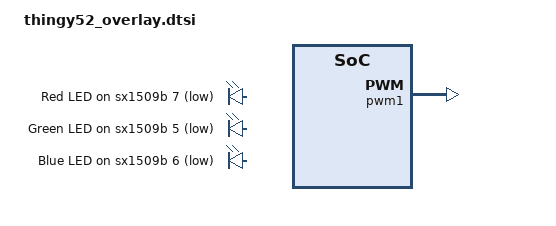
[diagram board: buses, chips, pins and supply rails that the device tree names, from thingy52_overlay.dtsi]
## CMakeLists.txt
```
set(QEMU_EXTRA_FLAGS -s)

set(DTC_OVERLAY_FILE thingy52_overlay.dtsi)

option(Mobile_A "select static node" OFF)
option(Mobile_B "select static node" OFF)
IF(${Mobile_A})
    set(CONF_FILE conf_files/mobile_node_A.conf prj.conf)
ELSEIF(${Mobile_B})
    set(CONF_FILE conf_files/mobile_node_B.conf prj.conf)
ENDIF()

find_package(Zephyr REQUIRED HINTS $ENV{ZEPHYR_BASE})

project(code/mobile_mesh_nodes)

include_directories(    
                        ../lib/pb_driver/
                        ../lib/pwm_speaker_driver/
                        )

target_sources(app PRIVATE 
                        src/main.c
                        ../lib/pwm_speaker_driver/s4589514_speaker_pwm.c
                        ../lib/pb_driver/s4589514_pb.c
                        )

# FILE(GLOB app_sources src/*.c)
# target_sources(app PRIVATE ${app_sources})



cmake_minimum_required(VERSION 3.20.0)

set(BOARD_FLASH_RUNNER jlink)
```

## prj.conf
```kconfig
# J-Link Log Viewer
CONFIG_UART_CONSOLE=n
CONFIG_USE_SEGGER_RTT=y
CONFIG_RTT_CONSOLE=y
CONFIG_LOG_BACKEND_RTT=y
CONFIG_LOG_STRDUP_BUF_COUNT=20
CONFIG_LOG_STRDUP_MAX_STRING=80

CONFIG_PWM=y

CONFIG_MAIN_STACK_SIZE=512
CONFIG_BT_RX_STACK_SIZE=4096
CONFIG_SYSTEM_WORKQUEUE_STACK_SIZE=4096

CONFIG_BT=y
CONFIG_BT_OBSERVER=y
CONFIG_BT_BROADCASTER=y
# CONFIG_BT_DEBUG_LOG=n #ENABLE FOR LOGGING MSGS
CONFIG_BT_MESH_GATT_PROXY=y
CONFIG_BT_PERIPHERAL=y
CONFIG_BT_MESH_PB_GATT=y
CONFIG_BT_MESH_PB_ADV=y


CONFIG_BT_MESH=y
CONFIG_BT_MESH_APP_KEY_COUNT=1
CONFIG_BT_MESH_RELAY=n
CONFIG_BT_MESH_FRIEND=n
CONFIG_BT_MESH_GATT_PROXY=y
CONFIG_BT_MESH_BEACON_ENABLED=n

CONFIG_BT_SETTINGS=y
CONFIG_FLASH=y
CONFIG_FLASH_PAGE_LAYOUT=y
CONFIG_FLASH_MAP=y
CONFIG_FCB=y
CONFIG_SETTINGS=y
CONFIG_SETTINGS_FCB=y

CONFIG_BT_DEBUG_LOG=n #ENABLE FOR LOGGING MSGS
CONFIG_LOG_BUFFER_SIZE=2048
CONFIG_LOG_STRDUP_BUF_COUNT=1
CONFIG_BT_MESH_DEBUG=n #ENABLE FOR LOGGING MSGS
CONFIG_BT_MESH_DEBUG_ACCESS=y
CONFIG_BT_MESH_DEBUG_NET=y

                               #Console RTT Console
#------------------------------------------------------------------------------
CONFIG_PRINTK=y
CONFIG_CBPRINTF_FP_SUPPORT=y

CONFIG_USE_SEGGER_RTT=y
CONFIG_SHELL_BACKEND_SERIAL=n
CONFIG_UART_CONSOLE=n
CONFIG_LOG=y
CONFIG_RTT_CONSOLE=y

CONFIG_NEWLIB_LIBC=y
```

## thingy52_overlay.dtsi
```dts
/ {
	aliases {
                redled = &led0;
                greenled = &led1;
                blueled = &led2;
                pwmbuzzer = &pwm_one;
	};

        leds {
                compatible = "gpio-leds";
                status = "okay";

                led0: led_0 {
                        gpios = <&sx1509b 7 0x1>;
                        label = "Red LED";
                };
                led1: led_1 {
                        gpios = <&sx1509b 5 0x1>;
                        label = "Green LED";
                };
                led2: led_2 {
                        gpios = <&sx1509b 6 0x1>;
                        label = "Blue LED";
                };
        };

        pwmdrv {
                compatible = "gpio-pwm";
                pwm_one: pwmOne {
                        pwms = <&pwm1 27>;
                };
        };
};
&pwm1 {
        status = "okay";
        ch0-pin = <27>;
};
```

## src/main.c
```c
/**
 * Partial implementation of the generic on off server and light HSL server models.
 * Not complete and therefore not compliant with the applicable specifications.
 * Provided for education purposes only.
 * 
 * Coded for and tested with Nordic Thingy
 * 
 **/

#include <stdlib.h>
#include <bluetooth/bluetooth.h>
#include <bluetooth/hci.h>
#include <settings/settings.h>
#include <drivers/gpio.h>
#include <bluetooth/mesh.h>
#include <random/rand32.h>
#include <drivers/pwm.h>

#include "s4589514_speaker_pwm.h"
#include "s4589514_pb.h"

#define BLE_MAX_NAME_LEN 	50
#define NUM_BEACONS 		13

// GPIO for the Thingy LED controller
const struct device *led_ctrlr;

static int nodeFamily = 0;
uint16_t hsl[8][3] = {
	{ 0x0000, 0x0000, 0x0000 }, // black
	{ 0x0000, 0xFFFF, 0x7FFF }, // red 
	{ 0x5555, 0xFFFF, 0x7FFF }, // green
	{ 0xAAAA, 0xFFFF, 0x7FFF }, // blue
	{ 0x2AAA, 0xFFFF, 0x7FFF }, // yellow
	{ 0xD555, 0xFFFF, 0x7FFF }, // magenta
	{ 0x7FFF, 0xFFFF, 0x7FFF }, // cyan
	{ 0x0000, 0x0000, 0xFFFF }  // white
};

struct NodeData
{
    char name[BLE_MAX_NAME_LEN];
    int8_t rssi;
};

static struct NodeData nodeData[NUM_BEACONS];

#define PORT "GPIO_P0"
#define LED_R 7
#define LED_G 5
#define LED_B 6

// states and state changes
uint8_t onoff_state;

uint16_t hsl_lightness;
uint16_t hsl_hue;
uint16_t hsl_saturation;
uint16_t rgb_r;
uint16_t rgb_g;
uint16_t rgb_b;

bool publish = false;
uint16_t reply_addr;
uint8_t reply_net_idx;
uint8_t reply_app_idx;

// device UUID
static uint8_t dev_uuid[16] = { 0x00, 0x00, 0x00, 0x00, 0x00, 0x00, 0x00, 0x00,0x00, 0x00, 0x00, 0x00,0x00, 0x00, 0x00, 0x00 };

// Static node GAP names according to index
const char *nodeNames[] = {
    "4011-A",
    "4011-B",
    // "4011-C",
    "4011-D",
    "4011-E",
    "4011-F",
    "4011-G",
    "4011-H",
    "4011-I", // weak signal
    // "4011-J",
    // "4011-K",
    "4011-L", // weak signal
    "Relay_W",
    "Relay_X",
    "Relay_Y",
    "Relay_Z"
};

int8_t beaconRSSI[NUM_BEACONS][2] = {
	{ 0x00, 0x10 }, // iBeacon A
	{ 0x01, 0x20 }, // iBeacon B
	// { 0x0002, 0x0030 }, // iBeacon C
	{ 0x03, 0x40 }, // iBeacon D
	{ 0x04, 0x50 }, // iBeacon E
	{ 0x05, 0x60 }, // iBeacon F
	{ 0x06, 0x70 }, // iBeacon G
	{ 0x07, 0x80 }, // iBeacon H
	{ 0x08, 0x90 }, // iBeacon I
	{ 0x09, 0xA0 }, // iBeacon L
	{ 0x0A, 0x90 }, // Relay W
	{ 0x0B, 0xA0 }, // Relay X
	{ 0x0C, 0xB0 }, // Relay Y
	{ 0x0D, 0xC0 } // Relay Z
};

int8_t staticNodeRSSI[4][2];

void gen_uuid() {
    uint32_t rnd1 = sys_rand32_get();
    uint32_t rnd2 = sys_rand32_get();
    uint32_t rnd3 = sys_rand32_get();
    uint32_t rnd4 = sys_rand32_get();

    dev_uuid[15] = (rnd1 >> 24) & 0x0FF;
    dev_uuid[14] = (rnd1 >> 16) & 0x0FF;
    dev_uuid[13] = (rnd1 >>  8) & 0x0FF;
    dev_uuid[12] =  rnd1 & 0x0FF;

    dev_uuid[11] = (rnd2 >> 24) & 0x0FF;
    dev_uuid[10] = (rnd2 >> 16) & 0x0FF;
    dev_uuid[9] = (rnd2 >>  8) & 0x0FF;
    dev_uuid[8] =  rnd2 & 0x0FF;

    dev_uuid[7] = (rnd3 >> 24) & 0x0FF;
    dev_uuid[6] = (rnd3 >> 16) & 0x0FF;
    dev_uuid[5] = (rnd3 >>  8) & 0x0FF;
    dev_uuid[4] =  rnd3 & 0x0FF;

    dev_uuid[3] = (rnd4 >> 24) & 0x0FF;
    dev_uuid[2] = (rnd4 >> 16) & 0x0FF;
    dev_uuid[1] = (rnd4 >>  8) & 0x0FF;
    dev_uuid[0] =  rnd4 & 0x0FF;

    /* Set 4 MSB bits of time_hi_and_version field */
    dev_uuid[6] &= 0x0f;
    dev_uuid[6] |= 4 << 4;

    /* Set 2 MSB of clock_seq_hi_and_reserved to 10 */
    dev_uuid[8] &= 0x3f;
    dev_uuid[8] |= 0x80;

}

void thingy_led_on(int r, int g, int b)
{
	// LEDs on Thingy are "active low" so zero means on. 
	r = !(r / 255);
	g = !(g / 255);
	b = !(b / 255);

	gpio_pin_set(led_ctrlr, LED_R, r);
	gpio_pin_set(led_ctrlr, LED_G, g);
	gpio_pin_set(led_ctrlr, LED_B, b);
}

void thingy_led_off()
{
	printk("GPIO_ACTIVE_LOW=%d\n",GPIO_ACTIVE_LOW);
	gpio_pin_set(led_ctrlr, LED_R, 1);
	gpio_pin_set(led_ctrlr, LED_G, 1);
	gpio_pin_set(led_ctrlr, LED_B, 1);
}

static void attention_on(struct bt_mesh_model *model)
{
	printk("attention_on()\n");
	thingy_led_on(255,0,0);
}

static void attention_off(struct bt_mesh_model *model)
{
	printk("attention_off()\n");
	thingy_led_off();
}

static const struct bt_mesh_health_srv_cb health_srv_cb = {
	.attn_on = attention_on,
	.attn_off = attention_off,
};

static int provisioning_output_pin(bt_mesh_output_action_t action, uint32_t number) {
	printk("OOB Number: %u\n", number);
	return 0;
}

static void provisioning_complete(uint16_t net_idx, uint16_t addr) {
    printk("Provisioning completed\n");
}

static void provisioning_reset(void)
{
	bt_mesh_prov_enable(BT_MESH_PROV_ADV | BT_MESH_PROV_GATT);
}

// provisioning properties and capabilities
static const struct bt_mesh_prov prov = {
	.uuid = dev_uuid,
	.output_size = 4,
	.output_actions = BT_MESH_DISPLAY_NUMBER,
	.output_number = provisioning_output_pin,
	.complete = provisioning_complete,
	.reset = provisioning_reset,
};

/*
 * The following two functions were converted from the pseudocode provided in the mesh models specification, section 6.1.1 Introduction
 */

double Hue_2_RGB(double v1, double v2, double vH ) {

	// printf("Hue_2_RGB: v1=%f v2=%f vH=%f\n",v1,v2,vH);

    if ( vH < 0.0f ) {
		vH += 1.0f;
	}
    if ( vH > 1.0f ) {
		vH -= 1.0f;
	}
    if (( 6.0f * vH ) < 1.0f ) {
		return ( v1 + ( v2 - v1 ) * 6.0f * vH );
	}
    if (( 2.0f * vH ) < 1.0f ) {
		return ( v2 );
	}
    if (( 3.0f * vH ) < 2.0f ) {
		return ( v1 + ( v2 - v1 ) * ( ( 2.0f / 3.0f ) - vH ) * 6.0f );
	}
    return ( v1 );
}	

void convert_hsl_to_rgb(unsigned short hsl_h,unsigned short hsl_s,unsigned short hsl_l ) {
	// printf("hsl_h=%d hsl_s=%d hsl_l=%d\n",hsl_h,hsl_s,hsl_l);
    double H = hsl_h / 65535.0f;
    double S = hsl_s / 65535.0f;
    double L = hsl_l / 65535.0f;
	double var_1 = 0.0f;
	double var_2 = 0.0f;
	
    if ( S == 0 ) {
      rgb_r = L * 255;
      rgb_g = L * 255;
      rgb_b = L * 255;
    } else {
      if ( L < 0.5f ) {
	      var_2 = L * ( 1.0f + S );
	  } else { 
		  var_2 = ( L + S ) - ( S * L );
	  }
      var_1 = 2.0f * L - var_2;
	  
      double R = Hue_2_RGB( var_1, var_2, H + ( 1.0f / 3.0f ));
      double G = Hue_2_RGB( var_1, var_2, H );
      double B = Hue_2_RGB( var_1, var_2, H - ( 1.0f / 3.0f ));
	  
	  // printf("R=%f G=%f B=%f\n",R,G,B);
	  
	  rgb_r = 256 * R;
	  rgb_g = 256 * G;
	  rgb_b = 256 * B;
    }
}

// message opcodes
#define BT_MESH_MODEL_OP_GENERIC_ONOFF_GET BT_MESH_MODEL_OP_2(0x82, 0x01)
#define BT_MESH_MODEL_OP_GENERIC_ONOFF_SET BT_MESH_MODEL_OP_2(0x82, 0x02)
#define BT_MESH_MODEL_OP_GENERIC_ONOFF_SET_UNACK BT_MESH_MODEL_OP_2(0x82, 0x03)
#define BT_MESH_MODEL_OP_GENERIC_ONOFF_STATUS BT_MESH_MODEL_OP_2(0x82, 0x04)

// need to forward declare as we have circular dependencies
void generic_onoff_status(bool publish, uint8_t on_or_off);

static void set_onoff_state(struct bt_mesh_model *model, struct bt_mesh_msg_ctx *ctx, struct net_buf_simple *buf, bool ack)
{
	uint8_t msg_onoff_state = net_buf_simple_pull_u8(buf);
	if (msg_onoff_state == onoff_state) {
		// no state change so nothing to do
		return;
	}
	onoff_state = msg_onoff_state;
	uint8_t tid = net_buf_simple_pull_u8(buf);
	printk("set onoff state: onoff=%u TID=%u", onoff_state, tid);

	/*
	 * 3.7.7.2 Acknowledged Set
	 */ 
	if (ack) {
		generic_onoff_status(false, onoff_state);
	}

	/*
	 * If a server has a publish address, it is required to publish status on a state change
	 * See Mesh Profile Specification 3.7.6.1.2	
	 */

	if (model->pub->addr != BT_MESH_ADDR_UNASSIGNED) {
		generic_onoff_status(true, onoff_state);
	}

}

static void generic_onoff_get(struct bt_mesh_model *model, struct bt_mesh_msg_ctx *ctx, struct net_buf_simple *buf)
{
	printk("gen_onoff_get\n");

	// logged for interest only
	printk("ctx net_idx=0x%02x\n",ctx->net_idx);
	printk("ctx app_idx=0x%02x\n",ctx->app_idx);
	printk("ctx addr=0x%02x\n",ctx->addr);
	printk("ctx recv_dst=0x%02x\n",ctx->recv_dst);
	reply_addr = ctx->addr;
	reply_net_idx = ctx->net_idx;
	reply_app_idx = ctx->app_idx;
	generic_onoff_status(false, onoff_state);
}

static void generic_onoff_set(struct bt_mesh_model *model, struct bt_mesh_msg_ctx *ctx,	
			struct net_buf_simple *buf)
{
	printk("gen_onoff_set\n");
	set_onoff_state(model, ctx, buf, true);
}

static void generic_onoff_set_unack(struct bt_mesh_model *model, struct bt_mesh_msg_ctx *ctx, 
			struct net_buf_simple *buf)
{
	//check unicast address of static node - displayed on nrf mesh application
	if (ctx->addr == 5) {
		staticNodeRSSI[0][1] = ctx->recv_rssi;

	} else if (ctx->addr == 6) {
		staticNodeRSSI[1][1] = ctx->recv_rssi;

	} else if (ctx->addr == 7) {
		staticNodeRSSI[2][1] = ctx->recv_rssi;

	} else if (ctx->addr == 8) {
		staticNodeRSSI[3][1] = ctx->recv_rssi;

	}
}

static const struct bt_mesh_model_op generic_onoff_op[] = {
		{BT_MESH_MODEL_OP_GENERIC_ONOFF_GET, 0, generic_onoff_get},
		{BT_MESH_MODEL_OP_GENERIC_ONOFF_SET, 2, generic_onoff_set},
		{BT_MESH_MODEL_OP_GENERIC_ONOFF_SET_UNACK, 2, generic_onoff_set_unack},
		BT_MESH_MODEL_OP_END,
};

// model publication context
BT_MESH_MODEL_PUB_DEFINE(generic_onoff_pub, NULL, 2 + 1);


// Light HSL Server Model - minimal subset only - would not be deemed compliant
// -------------------------------------------------------------------------------------------------------

// message opcodes

#define BT_MESH_MODEL_OP_LIGHT_HSL_SET_UNACK BT_MESH_MODEL_OP_2(0x82, 0x77)

// NB: only unacknowledged light_hsl_set is implemented in this code
static void set_hsl_state(struct bt_mesh_model *model, struct bt_mesh_msg_ctx *ctx, 
			struct net_buf_simple *buf) {

    uint16_t msg_hsl_lightness = net_buf_simple_pull_le16(buf);
    uint16_t msg_hsl_hue = net_buf_simple_pull_le16(buf);
    uint16_t msg_hsl_saturation = net_buf_simple_pull_le16(buf);
    if (msg_hsl_lightness == hsl_lightness && msg_hsl_hue == hsl_hue && msg_hsl_saturation == hsl_saturation) {
        // no state change so nothing to do
        return;
    }
    hsl_lightness = msg_hsl_lightness;
    hsl_hue = msg_hsl_hue;
    hsl_saturation = msg_hsl_saturation;
    printk("set HSL state: lightness=%u hue=%u saturation=%u\n", hsl_lightness, hsl_hue, hsl_saturation);
    convert_hsl_to_rgb(hsl_hue,hsl_saturation,hsl_lightness);
    if (onoff_state == 1) {
        thingy_led_on(rgb_r, rgb_g, rgb_b);
    }
    /*
    * If a server has a publish address, it is required to publish status on a state change
    * See Mesh Profile Specification 3.7.6.1.2
    */
    if (model->pub->addr != BT_MESH_ADDR_UNASSIGNED) {
        // if we had implemented light HSL status messages, we'd send one here
        printk("A status message should be sent here - not implemented\n");
    }
}

static void light_hsl_set_unack(struct bt_mesh_model *model,struct bt_mesh_msg_ctx *ctx, 
			struct net_buf_simple *buf) {
    printk("light_hsl_set_unack\n");
	int8_t temp = net_buf_simple_pull_u8(buf);
	
    // set_hsl_state(model, ctx, buf);
}

// static const struct bt_mesh_model_op light_hsl_op[] = {
// 		{BT_MESH_MODEL_OP_LIGHT_HSL_SET_UNACK, 1, light_hsl_set_unack},
// 		BT_MESH_MODEL_OP_END,
// };

// model publication context
BT_MESH_MODEL_PUB_DEFINE(light_hsl_pub, NULL, 2 + 6);

// -------------------------------------------------------------------------------------------------------
// Health Server
// -------------
BT_MESH_HEALTH_PUB_DEFINE(health_pub, 0);

static struct bt_mesh_health_srv health_srv = {
	.cb = &health_srv_cb,
};

static void get_proximity_data(struct bt_mesh_model *model,struct bt_mesh_msg_ctx *ctx, struct net_buf_simple *buf) {

	int8_t proximity_alert = net_buf_simple_pull_u8(buf);
	int8_t random = net_buf_simple_pull_u8(buf);

	printk("proximity alert: %d\n", proximity_alert);
	
	if (proximity_alert == 1) {
		buzzer_frequency(200);
		// do something
	} else if (proximity_alert == 0) {
		buzzer_frequency(60000);
		// do something else
	}
	
}

static void get_proximity_data_unack(struct bt_mesh_model *model,struct bt_mesh_msg_ctx *ctx, struct net_buf_simple *buf) {

	get_proximity_data(model, ctx, buf);
}

// -------------------------------------------------------------------------------------------------------
// Composition
// -----------

#define BT_MESH_MODEL_OP_MOBILE_TO_BASE_UNACK		BT_MESH_MODEL_OP_2(0x82, 0x40) // MOBILE A
#define BT_MESH_MODEL_OP_MOBILE_2_TO_BASE_UNACK 	BT_MESH_MODEL_OP_2(0x82, 0x41) // MOBILE B

// 12 bytes (5 sets of beaconRSSI data (2 bytes each), init msg, tid value)
BT_MESH_MODEL_PUB_DEFINE(data_mobile_to_base, NULL, 13);
BT_MESH_MODEL_PUB_DEFINE(data_mobile_to_base_2, NULL, 13); 

// mobile 1 receiving data from base (proximity)
static const struct bt_mesh_model_op prox_data_from_base[] = {
	{BT_MESH_MODEL_OP_LIGHT_HSL_SET_UNACK, 2, get_proximity_data_unack},
	BT_MESH_MODEL_OP_END,
};


static struct bt_mesh_model sig_models[] = {
    BT_MESH_MODEL_CFG_SRV,
	BT_MESH_MODEL_HEALTH_SRV(&health_srv, &health_pub),
	BT_MESH_MODEL(BT_MESH_MODEL_ID_GEN_ONOFF_SRV, generic_onoff_op, &generic_onoff_pub, NULL),
	BT_MESH_MODEL(BT_MESH_MODEL_ID_LIGHT_HSL_SRV, prox_data_from_base, &light_hsl_pub, NULL),
	// BT_MESH_MODEL(BT_MESH_MODEL_ID_LIGHT_XYL_CLI, NULL, &data_mobile_to_base, &beaconRSSI[0]),
	BT_MESH_MODEL(BT_MESH_MODEL_ID_LIGHT_XYL_CLI, NULL, &data_mobile_to_base, &beaconRSSI[0]),
	BT_MESH_MODEL(BT_MESH_MODEL_ID_LIGHT_LC_CLI, NULL, &data_mobile_to_base_2, &beaconRSSI[0]),
};

// node contains elements.note that BT_MESH_MODEL_NONE means "none of this type" ands here means "no vendor models"
static struct bt_mesh_elem elements[] = {
		BT_MESH_ELEM(0, sig_models, BT_MESH_MODEL_NONE),
};

// node
static const struct bt_mesh_comp comp = {
		.cid = 0xFFFF,
		.elem = elements,
		.elem_count = ARRAY_SIZE(elements),
};
// Mobile to Base data model 

static uint8_t msg_tid = 0; 
int strongestSignals[13];

int sendDataToBase(uint16_t message_type) {
	int err;
	struct bt_mesh_model* model;
	if (message_type == BT_MESH_MODEL_OP_MOBILE_TO_BASE_UNACK) {
		model = &sig_models[4];
	} else if (message_type == BT_MESH_MODEL_OP_MOBILE_2_TO_BASE_UNACK) {
		model = &sig_models[5];
	}
	
	printk("send data to base...");
	if (model->pub->addr == BT_MESH_ADDR_UNASSIGNED) {
		printk("No publish address associated with the light HSL client model - \
					add one with a configuration app like nRF Mesh\n");
		return -1;
	}

	int numMsgsAdded = 0;

	struct net_buf_simple* msg = model->pub->msg;
	bt_mesh_model_msg_init(msg, message_type);
	for (int i = 0; i < NUM_BEACONS; i++) {
		if (strongestSignals[i] == 1) {
			net_buf_simple_add_u8(msg, beaconRSSI[i][1]); 
			net_buf_simple_add_u8(msg, beaconRSSI[i][0]);
			numMsgsAdded++;
			// only send a set of 5 rssi/name values;
			if (numMsgsAdded == 4) {
				break;
			}
		}
	}
	// add empty data sets to fill transmit buffer as
	// base node is expecting a certain amount of data
	while (numMsgsAdded < 5) {
		net_buf_simple_add_u8(msg, 0xFF); 
		net_buf_simple_add_u8(msg, 0x0E); //TODO change
		numMsgsAdded++;
	}
	net_buf_simple_add_u8(msg, nodeFamily);
	net_buf_simple_add_u8(msg, msg_tid);
	msg_tid += 2;
	printk("publishing RSSI data\n");
	err = bt_mesh_model_publish(model);
	if (err) {
		printk("bt_mesh_model_publish err %d\n", err);
	}
	return err;
}



// ----------------------------------------------------------------------------------------------------
// generic onoff status TX message producer

// Either publish a status message to the publish address associated with the generic on off server model
// or send it to the specified address
void generic_onoff_status(bool publish, uint8_t on_or_off)
{
    int err;
    struct bt_mesh_model *model = &sig_models[2];
	if (publish && model->pub->addr == BT_MESH_ADDR_UNASSIGNED) {
		printk("No publish address associated with the generic on off server model - \
					add one with a configuration app like nRF Mesh\n");
		return;
	} 

	if (publish) {
	    struct net_buf_simple *msg = model->pub->msg;
		net_buf_simple_reset(msg);
		bt_mesh_model_msg_init(msg, BT_MESH_MODEL_OP_GENERIC_ONOFF_STATUS);
		net_buf_simple_add_u8(msg, on_or_off);
		printk("publishing on off status message\n");		
		err = bt_mesh_model_publish(model);
		if (err) {
			printk("bt_mesh_model_publish err %d\n", err);
		}
	} else {
		uint8_t buflen = 7;
		NET_BUF_SIMPLE_DEFINE(msg, buflen);
		bt_mesh_model_msg_init(&msg, BT_MESH_MODEL_OP_GENERIC_ONOFF_STATUS);
		net_buf_simple_add_u8(&msg, on_or_off);
		struct bt_mesh_msg_ctx ctx = {
				.net_idx = reply_net_idx,
				.app_idx = reply_app_idx,
				.addr = reply_addr,
				.send_ttl = BT_MESH_TTL_DEFAULT,
		};

		printk("sending on off status message\n");
		if (bt_mesh_model_send(model, &ctx, &msg, NULL, NULL)) {
			printk("Unable to send generic onoff status message\n");
		}
	}
}

static void bt_ready(int err)
{
	if (err)
	{
		printk("bt_enable init failed with err %d", err);
		return;
	}
    printk("Bluetooth initialised OK\n");

	gen_uuid();

    printk("\n%02X%02X%02X%02X-%02X%02X-%02X%02X-%02X%02X-%02X%02X%02X%02X%02X%02X\n\n",
            dev_uuid[15], dev_uuid[14], dev_uuid[13], dev_uuid[12],dev_uuid[11], dev_uuid[10], dev_uuid[9], dev_uuid[8],
            dev_uuid[7], dev_uuid[6], dev_uuid[5], dev_uuid[4],dev_uuid[3], dev_uuid[2], dev_uuid[1], dev_uuid[0]);

	err = bt_mesh_init(&prov, &comp);

	if (err)
	{
		printk("bt_mesh_init failed with err %d", err);
		return;
	}

	printk("Mesh initialised OK: 0x%04x\n",elements[0].addr);

	if (IS_ENABLED(CONFIG_SETTINGS)) {
		settings_load();
	    printk("Settings loaded: 0x%04x\n",elements[0].addr);
	}

    if (!bt_mesh_is_provisioned()) {
    	printk("Node has not been provisioned - beaconing\n");
		bt_mesh_prov_enable(BT_MESH_PROV_ADV | BT_MESH_PROV_GATT);
	} else {
		
    	printk("Node has already been provisioned\n");
	    printk("Node unicast address: 0x%04x\n",elements[0].addr);
	}

}

static void configure_thingy_led_controller()
{
	led_ctrlr = device_get_binding(PORT);
	gpio_pin_configure(led_ctrlr, LED_R, GPIO_OUTPUT);
	gpio_pin_configure(led_ctrlr, LED_G, GPIO_OUTPUT);
	gpio_pin_configure(led_ctrlr, LED_B, GPIO_OUTPUT);
}

void indicate_on() {
	int r = 0, g = 0, b = 255;
	thingy_led_on(r, g, b);
    k_sleep(K_MSEC(5000));
	thingy_led_off();	
}

/**
 * @brief Callback function to extract GAP name from BLE
 *          advertisements
 * 
 * @param data : Data to parse
 * @param user_data : Container to save parsed data to
 * @return true : If parsing should continue
 * @return false : If parsing should stop
 */
static bool parse_advertising_data(struct bt_data *data, void *user_data)
{
    struct NodeData *parsedData = user_data;

    // Check if the data is the advertiser's name
    if (data->type == BT_DATA_NAME_COMPLETE)
    {

        // If the name length is valid, save it and stop parsing
        if (data->data_len < BLE_MAX_NAME_LEN)
        {

            memcpy(parsedData->name, data->data, data->data_len);
            parsedData->name[data->data_len] = '\0';

            return false;
        }
    }

    return true;
}

static int8_t beaconCount = 0;

/**
 * @brief Callback for when an advertisement has been found
 * 
 * @param addr : BLE address of the advertiser
 * @param rssi : Received signal strength indicator of the advertisement
 * @param advType : Type of advertisement
 * @param ad : The scanned advertisement
 */
static void scan_cb(const bt_addr_le_t *addr, int8_t rssi, uint8_t advType, struct net_buf_simple *ad)
{
    struct NodeData adData = {0};
 
	bt_data_parse(ad, parse_advertising_data, &adData);

    for (int i = 0; i < NUM_BEACONS; i++)
    {
        // See if a valid node; if so, save data
        if (strcmp(adData.name, nodeNames[i]) == 0) {
			beaconRSSI[i][1] = rssi;		
        }
    }
}

static void check_family_colour() {
	int tempFam = get_node_family();

	if (nodeFamily != tempFam) {
		nodeFamily = tempFam;
		convert_hsl_to_rgb(hsl[nodeFamily][0], hsl[nodeFamily][1], hsl[nodeFamily][2]);
		thingy_led_on(rgb_r, rgb_g, rgb_b);
	}
}

static void reset_beacon_values() {
	for (int i = 0; i < NUM_BEACONS; i++) {
		beaconRSSI[i][1] = -127;
		nodeData[i].rssi = -127;
		strongestSignals[i] = 0;
	}
	beaconCount = 0; // reset count index
}

void main(void)
{
	printk("thingy light node v1.1.0\n");

	configure_thingy_led_controller();
    indicate_on();

	init_pb();
	init_speaker_pwm();

	// set default colour to white
	rgb_r = 255;
	rgb_g = 255;
	rgb_b = 255;

	printk("Calling bt_enable");
	int err = bt_enable(bt_ready);
	if (err)
	{
		printk("bt_enable failed with err %d", err);
	}

	// tid's are even for mobile A and odd for mobile B
	if (strcmp(bt_get_name(), "Mobile_A") == 0) {
		msg_tid = 0;
	} else if (strcmp(bt_get_name(), "Mobile_B") == 0) {
		msg_tid = 1;
	}

	struct bt_le_scan_param scanParams = {
		.type = BT_HCI_LE_SCAN_ACTIVE,
		.options = BT_LE_SCAN_OPT_NONE,
		.interval = 0x0200,
		.window = 0x0200
	};

	while (1) {
		// read RSSI data
		// k_msleep(500);
		check_family_colour();

		if (bt_mesh_is_provisioned()) {
			
			bt_mesh_suspend();
			reset_beacon_values();
			k_msleep(100);
			
			err = bt_le_scan_start(&scanParams, scan_cb);
			if (err) {
				printk("starting scanning failed (err %d)\n", err);
			}

			k_msleep(300);
			err = bt_le_scan_stop();
			if (err) {
				printk("stop scanning failed (err %d)\n", err);
			}
		
			bt_mesh_resume();
			k_msleep(200);

			for (int i = 0; i < 4; i++) {
				beaconRSSI[i + 9][1] = staticNodeRSSI[i][1];
				// printk("i: %d    rssi: %d\n", i, beaconRSSI[i][1]);
			}
			if (beaconRSSI[2][1] > -110) {
				beaconRSSI[2][1] = beaconRSSI[2][1] - 7;
				if (beaconRSSI[2][1] > -50) {
					beaconRSSI[2][1] = beaconRSSI[2][1] + 7;
				}
			}


			for (int j = 0; j < NUM_BEACONS; j++) {
				int count = 0;
				printk("%s: %d\n", nodeNames[j], beaconRSSI[j][1]);
				for (int k = 0; k < NUM_BEACONS; k++) {
					
					if (beaconRSSI[j][1] > beaconRSSI[k][1]) {
						count++;
						if (count >= 9) { // 8 for top 5 beacons --> 9 for top 4 beacons
							strongestSignals[j] = 1;
							break;
						}
					}
				}
			}

			for (int i = 0; i < 4; i++) {
				staticNodeRSSI[i][1] = -127;
			}
			// k_msleep(500);
			if (strcmp(bt_get_name(), "Mobile_A") == 0) {
				if (sendDataToBase(BT_MESH_MODEL_OP_MOBILE_TO_BASE_UNACK)) {
					printk("unable to send RSSI data\n");
				}
			} else if (strcmp(bt_get_name(), "Mobile_B") == 0) {
				if (sendDataToBase(BT_MESH_MODEL_OP_MOBILE_2_TO_BASE_UNACK)) {
					printk("unable to send RSSI data\n");
				}
			}
			
			k_msleep(1500);
			
		} else {
			k_msleep(500);
		}
	}
}
```
